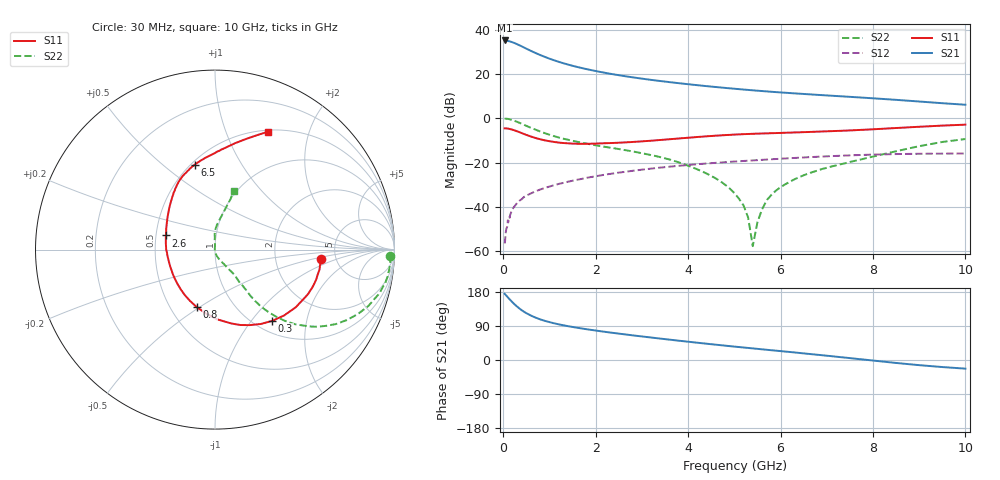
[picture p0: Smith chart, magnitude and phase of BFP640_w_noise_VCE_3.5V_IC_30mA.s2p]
! (c) 2013  Infineon Technologies AG, Munich
! Infineon Technologies  Discrete & RF Semiconductors
! BFP640
! VCE =  3.5 V,  IC =  30 mA
! Common Emitter S-Parameters:  Apr 2013
# GHz  S  MA  R  50
!  f  S11  S21  S12  S22
! GHz  MAG  ANG  MAG  ANG  MAG  ANG  MAG  ANG
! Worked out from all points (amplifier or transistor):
!   99 points, 30 MHz to 10 GHz, reference 50 ohm
!   highest |S21| = 35.1 dB at 30 MHz (marker M1)
!   |S21| within 3 dB of that: start of sweep to 432.5 MHz
!   unconditionally stable (mu >= 1): 2.271 GHz to end of sweep
!   at 350 MHz: K = 0.37, MSG = 35.1 dB, |S12| = -37.2 dB
!   at 3.5 GHz: K = 1.05, MAG = 17.9 dB, |S12| = -22.0 dB
!   at 10 GHz: K = 1.06, MAG = 9.5 dB, |S12| = -15.9 dB
!   lowest NFmin = 1.07 dB at 450 MHz
!   S11 on the Smith chart (normalised r, x): 30 MHz: 3.83, -0.60; 300 MHz: 1.19, -1.28; 800 MHz: 0.67, -0.49; 2.6 GHz: 0.56, +0.10; 6.5 GHz: 0.52, +0.65; 10 GHz: 0.52, +1.41
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0.03  0.5948 -4.9  57.12 174.8  0.0015 93.0  0.9757 -2.0
0.08  0.5884 -14.2  56.21 168.1  0.0034 64.5  0.9737 -7.8
0.15  0.5706 -27.0  54.12 158.7  0.0066 78.6  0.944 -15.4
0.2  0.5529 -35.5  51.96 152.3  0.009 77.5  0.9103 -20.2
0.25  0.5319 -43.6  49.64 146.4  0.0105 73.6  0.8731 -24.3
0.3  0.5093 -51.2  47.03 141.0  0.0123 71.1  0.8318 -28.2
0.4  0.4628 -65.4  42.04 131.4  0.0149 67.7  0.7487 -34.6
0.5  0.4217 -77.5  37.33 123.6  0.018 67.0  0.6755 -39.3
0.6  0.3881 -88.5  33.21 117.2  0.0202 64.7  0.6097 -43.0
0.8  0.3362 -107.6  26.77 107.2  0.0247 62.1  0.5037 -47.7
1  0.304 -123.7  22.19 100.0  0.0288 61.1  0.4259 -50.5
1.2  0.2832 -137.5  18.85 94.1  0.033 60.2  0.3689 -51.9
1.7  0.2657 -164.3  13.62 83.2  0.0429 58.2  0.2812 -52.4
2.6  0.2843 163.9  9.039 68.1  0.0612 52.1  0.1943 -52.7
3.4  0.3243 144.1  6.939 56.5  0.0771 45.8  0.1327 -55.1
5.1  0.4335 117.0  4.552 34.2  0.1071 31.4  0.0154 -84.8
5.4  0.4469 113.9  4.282 30.6  0.1121 28.8  0.0013 -133.7
5.7  0.4567 110.9  4.044 27.0  0.117 26.4  0.0141 92.1
6.5  0.4871 103.3  3.543 17.5  0.1307 19.4  0.0518 91.4
6.7  0.4951 101.1  3.436 15.0  0.1339 17.4  0.0615 91.1
8.5  0.6034 79.3  2.609 -7.8  0.1558 -0.6  0.1805 80.0
10  0.7188 65.9  2.023 -22.8  0.1604 -12.5  0.3408 72.3
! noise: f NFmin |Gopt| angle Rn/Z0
0.45  1.07  0.19  -171  0.03
0.9  1.08  0.2  -159  0.04
1.5  1.09  0.23  -144  0.06
1.9  1.1  0.24  -135  0.07
2.4  1.13  0.27  -122  0.09
3.5  1.26  0.31  -105  0.13
5.5  1.46  0.33  -92  0.21
10  1.93  0.6  -52  0.58
